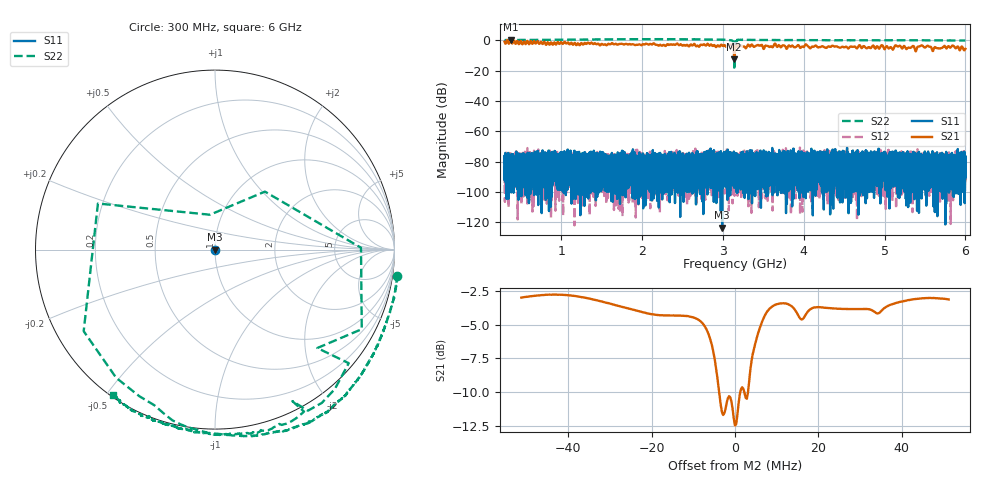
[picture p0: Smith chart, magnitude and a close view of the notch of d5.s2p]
!Agilent Technologies,N5230C,SG49000117,A.08.50.07
!Agilent N5230C: A.08.50.07
!Date: Monday, March 18, 2024 18:02:19
!Correction: S11(Off)
!S21(Off)
!S12(Off)
!S22(Full 1 Port(2))
!S2P File: Measurements: S11, S21, S12, S22:
# Hz S  RI  R 50
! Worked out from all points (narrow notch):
!   20001 points, 300 MHz to 6 GHz, reference 50 ohm
!   highest |S21| = 0.46 dB at 373.8 MHz (marker M1); lowest = -12.5 dB at 3.141 GHz (marker M2)
!   notch at M2: 9.1 dB deep, 8.55 MHz wide at half that depth
!   lowest |S11| = -123.4 dB at 2.991 GHz (marker M3), VSWR 1.00, Z = 50 - j6.39e-05 ohm
!   |S11| at or under -10 dB: start of sweep to end of sweep
!   |S22| runs from -18.0 to 0.8 dB; largest |S21 - S12| = 1.1
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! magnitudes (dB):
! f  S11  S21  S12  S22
! 300 MHz  -80.8  -0.9  -94.2  0.2
! 373.8 MHz  -85.2  0.5  -93.4  0.2
! 1.25 GHz  -81.9  -1.7  -109.7  0.5
! 2.2 GHz  -87.6  -3.5  -79.1  0.8
! 2.991 GHz  -123.4  -3.3  -80.1  0.4
! 3.1 GHz  -77.1  -2.8  -85.1  0.1
! 3.141 GHz  -92.1  -12.5  -77.7  -17.1
! 3.15 GHz  -88.7  -3.7  -81.9  -1.3
! 3.167 GHz  -78.6  -3.8  -84.5  0.3
! 3.177 GHz  -83.9  -3.8  -77.3  0.0
! 3.207 GHz  -83.8  -3.8  -84.5  0.4
! 3.976 GHz  -85.1  -4.1  -82.7  0.1
! 4.034 GHz  -85.1  -2.8  -81.9  0.1
! 4.1 GHz  -76.7  -4.2  -86.1  0.1
! 5.05 GHz  -86.1  -5.3  -80.3  0.1
! 5.16 GHz  -77.8  -4.1  -80.2  0.1
! 5.394 GHz  -82.4  -6.4  -83.2  0.1
! 5.453 GHz  -79.2  -3.4  -83.2  0.0
! 5.61 GHz  -78.6  -5.5  -90.8  0.0
! 5.843 GHz  -86.3  -3.4  -82.9  -0.1
! 5.97 GHz  -79.7  -5.2  -90.3  -0.1
! 6 GHz  -76.5  -5.5  -77.3  -0.1
